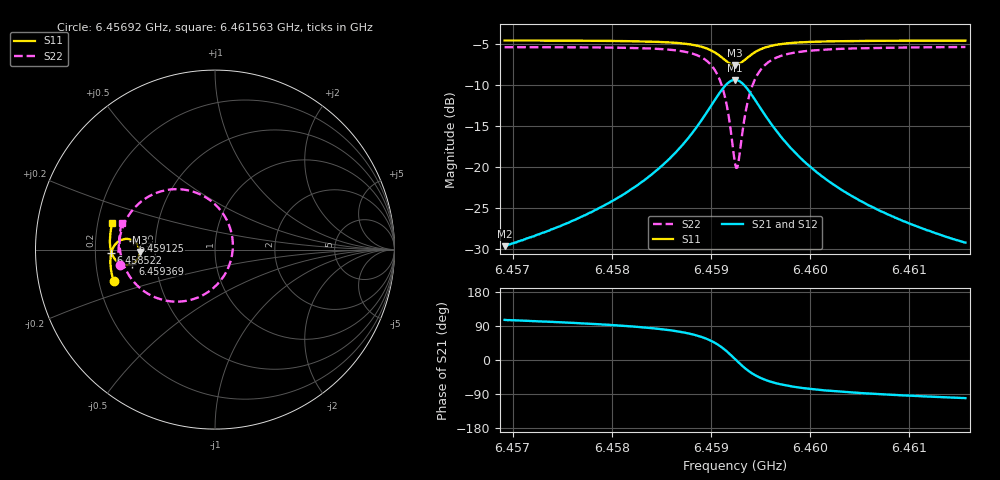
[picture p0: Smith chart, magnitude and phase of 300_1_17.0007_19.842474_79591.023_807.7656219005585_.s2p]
#  HZ  S  RI  R  50.00
! Rohde & Schwarz Vector Network Analyzer
! Rohde-Schwarz,ZNB20-2Port,1311601062101988,3.16
! Created: UTC 3/20/2024, 11:05:28 PM
! freq[Hz]  re:S11  im:S11  re:S21  im:S21  re:S12  im:S12  re:S22  im:S22
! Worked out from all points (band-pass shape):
!   401 points, 6.45692 GHz to 6.461563 GHz, reference 50 ohm
!   highest |S21| = -9.35 dB at 6.459241 GHz (marker M1); lowest = -29.6 dB at 6.45692 GHz (marker M2)
!   |S21| within 3 dB of the highest: 6.459009 GHz to 6.459474 GHz (464.5 kHz wide, 0.00719 % of centre)
!   lowest |S11| = -7.5 dB at 6.459241 GHz (marker M3), VSWR 2.44, Z = 20.5 - j0.632 ohm
!   |S11| at or under -10 dB: nowhere
!   |S22| runs from -20.1 to -5.3 dB; largest |S21 - S12| = 0.013
!   S11 on the Smith chart (normalised r, x): 6.45692 GHz: 0.26, -0.14; 6.458522 GHz: 0.27, -0.01; 6.459125 GHz: 0.37, +0.05; 6.459369 GHz: 0.37, -0.07; 6.461563 GHz: 0.26, +0.12
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6.4569196e9  -0.5652 -0.1769  -0.00902 0.0318  -0.00734 0.0319  -0.5317 -0.0874
6.4576975e9  -0.5798 -0.1091  -0.00576 0.0498  -0.0034 0.0491  -0.5376 0.0023
6.4581154e9  -0.5832 -0.0675  -0.000282 0.0683  0.00287 0.067  -0.5303 0.0673
6.4584753e9  -0.5795 -0.0249  0.0135 0.0975  0.0175 0.0949  -0.5051 0.1465
6.4585217e9  -0.5783 -0.0186  0.0168 0.1029  0.021 0.1  -0.4989 0.1596
6.4587307e9  -0.5662 0.0133  0.0427 0.1343  0.0468 0.1296  -0.4507 0.2302
6.4588816e9  -0.5452 0.0397  0.0848 0.1644  0.0881 0.1578  -0.3735 0.2935
6.4590325e9  -0.4994 0.0595  0.1756 0.1833  0.1766 0.1759  -0.2082 0.3366
6.4591254e9  -0.4551 0.0496  0.2644 0.1526  0.2647 0.1466  -0.0449 0.2872
6.4591718e9  -0.434 0.0309  0.3075 0.1103  0.3088 0.105  0.0363 0.2122
6.4592415e9  -0.4192 -0.0127  0.3406 0.0149  0.3439 0.00793  0.0993 0.036
6.4592531e9  -0.4197 -0.0208  0.3403 -0.00259  0.3439 -0.0102  0.099 0.00315
6.4592763e9  -0.423 -0.0362  0.335 -0.0368  0.3385 -0.0459  0.0882 -0.0613
6.4593692e9  -0.4602 -0.0782  0.2656 -0.1364  0.2646 -0.1493  -0.0515 -0.2449
6.4594156e9  -0.4828 -0.0849  0.2218 -0.1588  0.218 -0.1713  -0.1387 -0.2811
6.4594737e9  -0.5077 -0.0843  0.1733 -0.168  0.1668 -0.1789  -0.234 -0.2893
6.4596246e9  -0.5489 -0.0628  0.0911 -0.1523  0.0828 -0.158  -0.3888 -0.2366
6.4597871e9  -0.5692 -0.0353  0.049 -0.125  0.0416 -0.1276  -0.4632 -0.1664
6.4600193e9  -0.5811 -0.00162  0.0223 -0.0958  0.0166 -0.0964  -0.5068 -0.0898
6.4603792e9  -0.5857 0.0406  0.00618 -0.0688  0.00215 -0.0683  -0.5283 -0.00951
6.4607971e9  -0.5838 0.0825  -0.00135 -0.0512  -0.00413 -0.0503  -0.5321 0.0561
6.4615633e9  -0.5717 0.1502  -0.00645 -0.0342  -0.00814 -0.0332  -0.5205 0.1455
